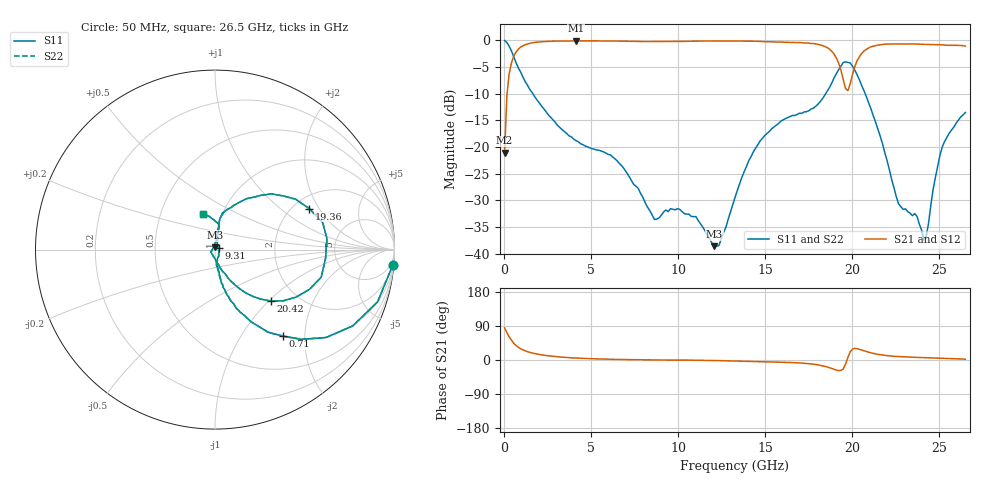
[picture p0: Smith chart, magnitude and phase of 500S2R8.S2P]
!  American Technical Ceramics  Date:  3/6/98
!  One Norden Lane
!  Huntington Station,  NY.  11746-2102
!  Tel:  (516) 547-5700  Fax:  (516) 547-5748
!  Part Number  500S2R8
!  Description: Broadband Microwave capacitor
!  Application:
# GHZ S DB R 50
! Freq  |S11|  S11 Ph  |S21|  S21 Ph  |S12|  S12 Ph  |S22|  S22 Ph
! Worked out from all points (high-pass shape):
!   201 points, 50 MHz to 26.5 GHz, reference 50 ohm
!   highest |S21| = -0.12 dB at 4.15 GHz (marker M1); lowest = -21.1 dB at 50 MHz (marker M2)
!   |S21| within 3 dB of the highest: 560.4 MHz to 19.05 GHz (18.49 GHz wide, 189 % of centre); 20.41 GHz to end of sweep
!   lowest |S11| = -38.6 dB at 12.08 GHz (marker M3), VSWR 1.02, Z = 50.1 + j1.17 ohm
!   |S11| at or under -10 dB: 1.667 GHz to 18.48 GHz (16.81 GHz wide, 167 % of centre); 20.74 GHz to end of sweep
!   |S22| runs from -38.6 to 0.0 dB; largest |S21 - S12| = 0
!   S11 on the Smith chart (normalised r, x): 50 MHz: 2, -23; 710 MHz: 1.01, -1.56; 9.31 GHz: 1.05, +0.02; 19.36 GHz: 2.42, +1.65; 20.42 GHz: 1.48, -1.04; 26.5 GHz: 0.81, +0.34
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0.05  -0.05 -5.0  -21.08 84.7  -21.08 84.7  -0.05 -5.0
0.18  -0.43 -17.8  -10.38 72.5  -10.38 72.5  -0.43 -17.8
0.31  -1.14 -29.0  -6.32 61.1  -6.32 61.1  -1.14 -29.0
0.71  -4.25 -51.8  -2.19 37.8  -2.19 37.8  -4.25 -51.8
1.64  -9.86 -70.9  -0.48 18.3  -0.48 18.3  -9.86 -70.9
4.15  -18.82 -80.6  -0.12 5.2  -0.12 5.2  -18.82 -80.6
4.55  -19.58 -81.5  -0.13 4.3  -0.13 4.3  -19.58 -81.5
6.4  -22.27 -83.5  -0.17 1.6  -0.17 1.6  -22.27 -83.5
8.91  -33.31 6.7  -0.25 -0.0  -0.25 -0.0  -33.31 6.7
9.31  -31.82 23.2  -0.27 -0.1  -0.27 -0.1  -31.82 23.2
11.03  -33.06 79.2  -0.18 -0.6  -0.18 -0.6  -33.06 79.2
12.08  -38.60 86.4  -0.15 -1.4  -0.15 -1.4  -38.60 86.4
13.28  -29.43 68.7  -0.15 -2.5  -0.15 -2.5  -29.43 68.7
14.99  -17.83 80.8  -0.27 -4.8  -0.27 -4.8  -17.83 80.8
17.77  -12.75 73.3  -0.62 -11.1  -0.62 -11.1  -12.75 73.3
19.36  -4.84 23.5  -5.70 -27.6  -5.70 -27.6  -4.84 23.5
19.76  -4.18 -4.4  -9.46 7.2  -9.46 7.2  -4.18 -4.4
20.42  -7.43 -42.5  -3.09 28.0  -3.09 28.0  -7.43 -42.5
22.14  -24.30 -85.5  -0.72 10.9  -0.72 10.9  -24.30 -85.5
24.12  -37.47 162.2  -0.78 6.2  -0.78 6.2  -37.47 162.2
25.18  -19.94 79.1  -0.87 4.5  -0.87 4.5  -19.94 79.1
26.5  -13.55 109.2  -1.09 2.1  -1.09 2.1  -13.55 109.2
